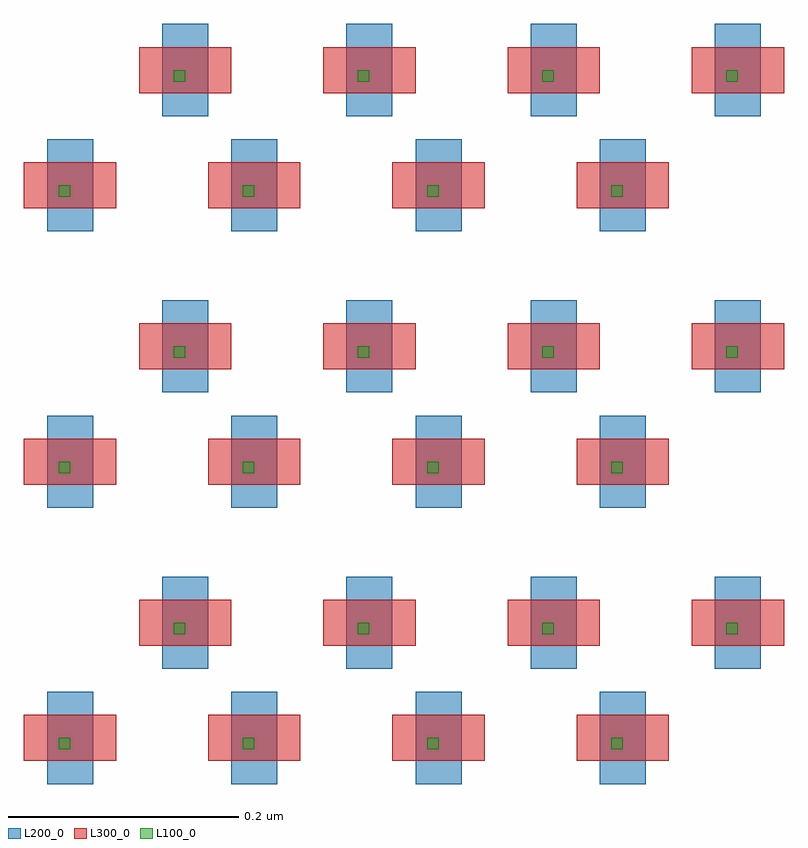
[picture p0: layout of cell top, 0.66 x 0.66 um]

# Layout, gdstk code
import gdstk
lib = gdstk.Library(unit=1e-6, precision=1e-09)
def R(c, l, rs):  # rectangles x0, y0, x1, y1
    for r in rs: c.add(gdstk.rectangle(r[:2], r[2:], *l))
L100_0 = (100, 0)
L200_0 = (200, 0)
L300_0 = (300, 0)

cell_c = lib.new_cell('cell_C')
R(cell_c, L100_0, [(0,0,0.01,0.01)])
R(cell_c, L200_0, [(-0.01,-0.03,0.03,0.05)])
R(cell_c, L300_0, [(-0.03,-0.01,0.05,0.03)])

top = lib.new_cell('top')
r = gdstk.Reference(cell_c, (0,0)); r.repetition = gdstk.Repetition(4, 3, v1=(0.16,0), v2=(0,0.24)); top.add(r)
r = gdstk.Reference(cell_c, (0.1,0.1)); r.repetition = gdstk.Repetition(4, 3, v1=(0.16,0), v2=(0,0.24)); top.add(r)

lib.write_gds('top.gds')
